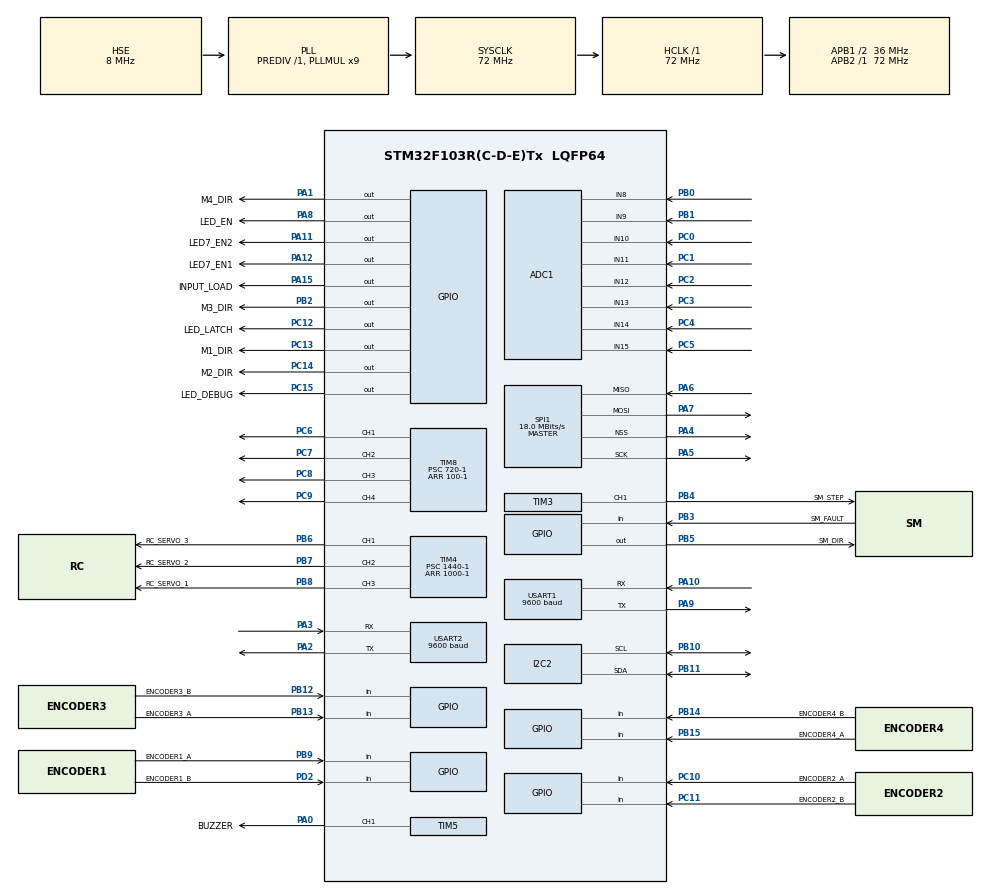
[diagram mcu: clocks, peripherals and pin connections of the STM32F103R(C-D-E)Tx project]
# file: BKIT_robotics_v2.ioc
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ADC1.Channel-0\#ChannelRegularConversion=ADC_CHANNEL_8
ADC1.Channel-1\#ChannelRegularConversion=ADC_CHANNEL_9
ADC1.Channel-2\#ChannelRegularConversion=ADC_CHANNEL_10
ADC1.Channel-3\#ChannelRegularConversion=ADC_CHANNEL_11
ADC1.Channel-4\#ChannelRegularConversion=ADC_CHANNEL_12
ADC1.Channel-5\#ChannelRegularConversion=ADC_CHANNEL_13
ADC1.Channel-6\#ChannelRegularConversion=ADC_CHANNEL_14
ADC1.Channel-7\#ChannelRegularConversion=ADC_CHANNEL_15
ADC1.NbrOfConversion=8
ADC1.NbrOfConversionFlag=1
ADC1.Rank-0\#ChannelRegularConversion=1
ADC1.Rank-1\#ChannelRegularConversion=2
ADC1.Rank-2\#ChannelRegularConversion=3
ADC1.Rank-3\#ChannelRegularConversion=4
ADC1.Rank-4\#ChannelRegularConversion=5
ADC1.Rank-5\#ChannelRegularConversion=6
ADC1.Rank-6\#ChannelRegularConversion=7
ADC1.Rank-7\#ChannelRegularConversion=8
ADC1.SamplingTime-0\#ChannelRegularConversion=ADC_SAMPLETIME_28CYCLES_5
ADC1.SamplingTime-1\#ChannelRegularConversion=ADC_SAMPLETIME_28CYCLES_5
ADC1.SamplingTime-2\#ChannelRegularConversion=ADC_SAMPLETIME_28CYCLES_5
ADC1.SamplingTime-3\#ChannelRegularConversion=ADC_SAMPLETIME_28CYCLES_5
ADC1.SamplingTime-4\#ChannelRegularConversion=ADC_SAMPLETIME_28CYCLES_5
ADC1.SamplingTime-5\#ChannelRegularConversion=ADC_SAMPLETIME_28CYCLES_5
ADC1.SamplingTime-6\#ChannelRegularConversion=ADC_SAMPLETIME_28CYCLES_5
ADC1.SamplingTime-7\#ChannelRegularConversion=ADC_SAMPLETIME_28CYCLES_5
ADC1.master=1
Dma.ADC1.0.Direction=DMA_PERIPH_TO_MEMORY
Dma.ADC1.0.Instance=DMA1_Channel1
Dma.ADC1.0.MemDataAlignment=DMA_MDATAALIGN_HALFWORD
Dma.ADC1.0.MemInc=DMA_MINC_ENABLE
Dma.ADC1.0.Mode=DMA_NORMAL
Dma.ADC1.0.PeriphDataAlignment=DMA_PDATAALIGN_HALFWORD
Dma.ADC1.0.PeriphInc=DMA_PINC_DISABLE
Dma.ADC1.0.Priority=DMA_PRIORITY_LOW
Dma.Request0=ADC1
Mcu.Family=STM32F1
Mcu.Name=STM32F103R(C-D-E)Tx
Mcu.Package=LQFP64
NVIC.DMA1_Channel1_IRQn=true\:0\:0\:false\:false\:true\:false\:true\:true
NVIC.PriorityGroup=NVIC_PRIORITYGROUP_4
NVIC.TIM2_IRQn=true\:0\:0\:false\:false\:true\:true\:true\:true
NVIC.TIM3_IRQn=true\:0\:0\:false\:false\:true\:true\:true\:true
NVIC.TIM4_IRQn=true\:0\:0\:false\:false\:true\:true\:true\:true
NVIC.USART1_IRQn=true\:0\:0\:false\:false\:true\:true\:true\:true
NVIC.USART2_IRQn=true\:0\:0\:false\:false\:true\:true\:true\:true
PA0-WKUP.GPIO_Label=BUZZER
PA0-WKUP.Signal=S_TIM5_CH1
PA1.GPIO_Label=M4_DIR
PA1.Signal=GPIO_Output
PA10.Mode=Asynchronous
PA10.Signal=USART1_RX
PA11.GPIO_Label=LED7_EN2
PA11.Signal=GPIO_Output
PA12.GPIO_Label=LED7_EN1
PA12.Signal=GPIO_Output
PA13.Mode=Serial_Wire
PA13.Signal=SYS_JTMS-SWDIO
PA14.Mode=Serial_Wire
PA14.Signal=SYS_JTCK-SWCLK
PA15.GPIO_Label=INPUT_LOAD
PA15.Signal=GPIO_Output
PA2.Mode=Asynchronous
PA2.Signal=USART2_TX
PA3.Mode=Asynchronous
PA3.Signal=USART2_RX
PA4.Mode=NSS_Signal_Hard_Output
PA4.Signal=SPI1_NSS
PA5.Mode=Full_Duplex_Master
PA5.Signal=SPI1_SCK
PA6.Mode=Full_Duplex_Master
PA6.Signal=SPI1_MISO
PA7.Mode=Full_Duplex_Master
PA7.Signal=SPI1_MOSI
PA8.GPIO_Label=LED_EN
PA8.Signal=GPIO_Output
PA9.Mode=Asynchronous
PA9.Signal=USART1_TX
PB0.Signal=ADCx_IN8
PB1.Signal=ADCx_IN9
PB10.Mode=I2C
PB10.Signal=I2C2_SCL
PB11.Mode=I2C
PB11.Signal=I2C2_SDA
PB12.GPIO_Label=ENCODER3_B
PB12.Signal=GPIO_Input
PB13.GPIO_Label=ENCODER3_A
PB13.Signal=GPIO_Input
PB14.GPIO_Label=ENCODER4_B
PB14.Signal=GPIO_Input
PB15.GPIO_Label=ENCODER4_A
PB15.Signal=GPIO_Input
PB2.GPIO_Label=M3_DIR
PB2.Signal=GPIO_Output
PB3.GPIO_Label=SM_FAULT
PB3.Signal=GPIO_Input
PB4.GPIO_Label=SM_STEP
PB4.Signal=S_TIM3_CH1
PB5.GPIO_Label=SM_DIR
PB5.Signal=GPIO_Output
PB6.GPIO_Label=RC_SERVO_3
PB6.Signal=S_TIM4_CH1
PB7.GPIO_Label=RC_SERVO_2
PB7.Signal=S_TIM4_CH2
PB8.GPIO_Label=RC_SERVO_1
PB8.Signal=S_TIM4_CH3
PB9.GPIO_Label=ENCODER1_A
PB9.Signal=GPIO_Input
PC0.Signal=ADCx_IN10
PC1.Signal=ADCx_IN11
PC10.GPIO_Label=ENCODER2_A
PC10.Signal=GPIO_Input
PC11.GPIO_Label=ENCODER2_B
PC11.Signal=GPIO_Input
PC12.GPIO_Label=LED_LATCH
PC12.Signal=GPIO_Output
PC13-TAMPER-RTC.GPIO_Label=M1_DIR
PC13-TAMPER-RTC.Signal=GPIO_Output
PC14-OSC32_IN.GPIO_Label=M2_DIR
PC14-OSC32_IN.Signal=GPIO_Output
PC15-OSC32_OUT.GPIO_Label=LED_DEBUG
PC15-OSC32_OUT.Signal=GPIO_Output
PC2.Signal=ADCx_IN12
PC3.Signal=ADCx_IN13
PC4.Signal=ADCx_IN14
PC5.Signal=ADCx_IN15
PC6.Signal=S_TIM8_CH1
PC7.Signal=S_TIM8_CH2
PC8.Signal=S_TIM8_CH3
PC9.Signal=S_TIM8_CH4
PD0-OSC_IN.Mode=HSE-External-Oscillator
PD0-OSC_IN.Signal=RCC_OSC_IN
PD1-OSC_OUT.Mode=HSE-External-Oscillator
PD1-OSC_OUT.Signal=RCC_OSC_OUT
PD2.GPIO_Label=ENCODER1_B
PD2.Signal=GPIO_Input
ProjectManager.HeapSize=0x200
ProjectManager.StackSize=0x400
ProjectManager.TargetToolchain=STM32CubeIDE
RCC.ADCPresc=RCC_ADCPCLK2_DIV6
RCC.AHBFreq_Value=72000000
RCC.APB1CLKDivider=RCC_HCLK_DIV2
RCC.APB1Freq_Value=36000000
RCC.APB1TimFreq_Value=72000000
RCC.APB2Freq_Value=72000000
RCC.APB2TimFreq_Value=72000000
RCC.HCLKFreq_Value=72000000
RCC.PLLMUL=RCC_PLL_MUL9
RCC.PLLSourceVirtual=RCC_PLLSOURCE_HSE
RCC.SYSCLKFreq_VALUE=72000000
RCC.SYSCLKSource=RCC_SYSCLKSOURCE_PLLCLK
RCC.USBFreq_Value=72000000
SH.ADCx_IN10.0=ADC1_IN10,IN10
SH.ADCx_IN11.0=ADC1_IN11,IN11
SH.ADCx_IN12.0=ADC1_IN12,IN12
SH.ADCx_IN13.0=ADC1_IN13,IN13
SH.ADCx_IN14.0=ADC1_IN14,IN14
SH.ADCx_IN15.0=ADC1_IN15,IN15
SH.ADCx_IN8.0=ADC1_IN8,IN8
SH.ADCx_IN9.0=ADC1_IN9,IN9
SH.S_TIM3_CH1.0=TIM3_CH1,PWM Generation1 CH1
SH.S_TIM4_CH1.0=TIM4_CH1,PWM Generation1 CH1
SH.S_TIM4_CH2.0=TIM4_CH2,PWM Generation2 CH2
SH.S_TIM4_CH3.0=TIM4_CH3,PWM Generation3 CH3
SH.S_TIM5_CH1.0=TIM5_CH1,PWM Generation1 CH1
SH.S_TIM8_CH1.0=TIM8_CH1,PWM Generation1 CH1
SH.S_TIM8_CH2.0=TIM8_CH2,PWM Generation2 CH2
SH.S_TIM8_CH3.0=TIM8_CH3,PWM Generation3 CH3
SH.S_TIM8_CH4.0=TIM8_CH4,PWM Generation4 CH4
SPI1.BaudRatePrescaler=SPI_BAUDRATEPRESCALER_4
SPI1.CalculateBaudRate=18.0 MBits/s
SPI1.Direction=SPI_DIRECTION_2LINES
SPI1.Mode=SPI_MODE_MASTER
SPI1.VirtualNSS=VM_NSSHARD
SPI1.VirtualType=VM_MASTER
TIM2.Period=1000-1
TIM2.Prescaler=72-1
TIM3.Channel-PWM\ Generation1\ CH1=TIM_CHANNEL_1
TIM3.Period=100-1
TIM3.Prescaler=720-1
TIM4.Channel-PWM\ Generation1\ CH1=TIM_CHANNEL_1
TIM4.Channel-PWM\ Generation2\ CH2=TIM_CHANNEL_2
TIM4.Channel-PWM\ Generation3\ CH3=TIM_CHANNEL_3
TIM4.Period=1000-1
TIM4.Prescaler=1440-1
TIM5.Channel-PWM\ Generation1\ CH1=TIM_CHANNEL_1
TIM5.Period=100-1
TIM5.Prescaler=720-1
TIM8.Channel-PWM\ Generation1\ CH1=TIM_CHANNEL_1
TIM8.Channel-PWM\ Generation2\ CH2=TIM_CHANNEL_2
TIM8.Channel-PWM\ Generation3\ CH3=TIM_CHANNEL_3
TIM8.Channel-PWM\ Generation4\ CH4=TIM_CHANNEL_4
TIM8.Period=100-1
TIM8.Prescaler=720-1
USART1.BaudRate=9600
USART1.VirtualMode=VM_ASYNC
USART2.BaudRate=9600
USART2.VirtualMode=VM_ASYNC
VP_TIM2_VS_ClockSourceINT.Mode=Internal
VP_TIM3_VS_ClockSourceINT.Mode=Internal
VP_TIM4_VS_ClockSourceINT.Mode=Internal
VP_TIM5_VS_ClockSourceINT.Mode=Internal
board=custom

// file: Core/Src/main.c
/* USER CODE BEGIN Header */
/**
 ******************************************************************************
 * @file           : main.c
 * @brief          : Main program body
 ******************************************************************************
 * @attention
 *
 * Copyright (c) 2024 STMicroelectronics.
 * All rights reserved.
 *
 * This software is licensed under terms that can be found in the LICENSE file
 * in the root directory of this software component.
 * If no LICENSE file comes with this software, it is provided AS-IS.
 *
 ******************************************************************************
 */
/* USER CODE END Header */
#include "main.h"
#include "adc.h"
#include "dma.h"
#include "i2c.h"
#include "spi.h"
#include "tim.h"
#include "usart.h"
#include "gpio.h"

/* USER CODE BEGIN Includes */
#include <stdlib.h>
#include <stdint.h>

#include "global.h"
#include "software_timer.h"

#include "servo.h"
#include "motor.h"
#include "encoder.h"
#include "step_motor.h"
#include "line_sensor.h"
#include "gamepad.h"
#include "module_mke_m15.h"

#include "button.h"
#include "switch.h"

#include "display.h"
#include "buzzer.h"

#include "uart.h"
#include "utils.h"

#include "robot_firmware.h"

/* USER CODE END Includes */

void SystemClock_Config(void);
/* USER CODE BEGIN PFP */
void initSystem();

/* USER CODE END PFP */

int main(void)
{

  /* MCU Configuration--------------------------------------------------------*/

  /* Reset of all peripherals, Initializes the Flash interface and the Systick. */
  HAL_Init();

  /* Configure the system clock */
  SystemClock_Config();

  /* Initialize all configured peripherals */
  MX_GPIO_Init();
  MX_DMA_Init();
  MX_TIM4_Init();
  MX_TIM2_Init();
  MX_TIM3_Init();
  MX_TIM8_Init();
  MX_USART1_UART_Init();
  MX_USART2_UART_Init();
  MX_TIM5_Init();
  MX_SPI1_Init();
  MX_ADC1_Init();
  MX_I2C2_Init();
  /* USER CODE BEGIN 2 */

  displayLed7Seg((uint8_t)getModeId());
  (void)setupRobot();

  /* USER CODE END 2 */

  /* Infinite loop */
  /* USER CODE BEGIN WHILE */
  while (1)
  {
    (void)processRobot();

    // if (getFlagUart1())
    // {
    // }
    // if (getFlagUart2())
    // {
    // }
    // if (sTimer2GetFlag())
    // {
    // SensorScan();
    // displayLeds(getSensorState());
    // displayLed7Seg(SensorGetLineStatus());

    // if (readGamepadData() == STATUS_OK)
    // {
    //   if (isGamepadButtonPressed(BUTTON_UP))
    //   {
    //     displayLeds(getGamepadData()[1]);
    //     moveDirection(FORWARD, 50);
    //   }
    //   else if (isGamepadButtonPressed(BUTTON_DOWN))
    //   {
    //     displayLeds(getGamepadData()[1]);
    //     moveDirection(BACKWARD, 50);
    //   }
    //   else if (isGamepadButtonPressed(BUTTON_LEFT))
    //   {
    //     displayLeds(getGamepadData()[1]);
    //     moveDirection(LEFT, 50);
    //   }
    //   else if (isGamepadButtonPressed(BUTTON_RIGHT))
    //   {
    //     displayLeds(getGamepadData()[1]);
    //     moveDirection(RIGHT, 50);
    //   }

    //   else if (isGamepadButtonPressed(BUTTON_SQUARE))
    //   {
    //     displayLeds(getGamepadData()[27]);
    //     moveDirection(ROTATE_LEFT, 50);
    //   }
    //   else if (isGamepadButtonPressed(BUTTON_CIRCLE))
    //   {
    //     displayLeds(getGamepadData()[27]);
    //     moveDirection(ROTATE_RIGHT, 50);
    //   }
    //   else
    //   {
    //     scanButton();
    //     if (isButtonPressed(BUTTON_1))
    //     {
    //       moveForward(50);
    //     }
    //     else if (isButtonPressed(BUTTON_2))
    //     {
    //       moveBackward(50);
    //     }
    //     else if (isButtonPressed(BUTTON_3))
    //     {
    //       moveLeft(50);
    //     }
    //     else if (isButtonPressed(BUTTON_4))
    //     {
    //       moveRight(50);
    //     }
    //     else
    //     {
    //       motorStop();
    //     }
    //   }
    // }

    // HAL_GPIO_TogglePin(LED_DEBUG_GPIO_Port, LED_DEBUG_Pin);
    // scanButton();
    // displayLed7Seg(state);
    // if (state == 0)
    // {
    //   if (isButtonPressed(1))
    //   {
    //     state = 1;
    //   }
    // }
    // else if (state == 1)
    // {
    //   autoProcess();
    //   motorStop();
    //   state = 0;
    // }
    // else if (state == 2)
    // {
    //   followLineForward();
    //   if (isButtonPressed(1))
    //   {
    //     state = 2;
    //     motorStop();
    //   }
    // }
    // else if (state == 3)
    // {
    //   goLeftUntilMeetLine();
    //   if (isButtonPressed(1))
    //   {
    //     state = 0;
    //     motorStop();
    //   }
    // }
    // else if (state == 4)
    // {
    //   goRightUntilMeetLine();
    //   if (isButtonPressed(1))
    //   {
    //     state = 0;
    //     motorStop();
    //   }
    // }

    // if (isButtonPressed(0))
    // {
    //   stepMotorMove(UP, 5);
    //   HAL_Delay(5000);
    //   motorStop();
    // }

    // if (isButtonPressed(2))
    // {
    //   state = 3;
    // }

    // if (isButtonPressed(3))
    // {
    //   state = 4;
    // }
    //      followLine();
    // }

    /* USER CODE END WHILE */

  }
}

void SystemClock_Config(void)
{
  RCC_OscInitTypeDef RCC_OscInitStruct = {0};
  RCC_ClkInitTypeDef RCC_ClkInitStruct = {0};
  RCC_PeriphCLKInitTypeDef PeriphClkInit = {0};

  /** Initializes the RCC Oscillators according to the specified parameters
   * in the RCC_OscInitTypeDef structure.
   */
  RCC_OscInitStruct.OscillatorType = RCC_OSCILLATORTYPE_HSE;
  RCC_OscInitStruct.HSEState = RCC_HSE_ON;
  RCC_OscInitStruct.HSEPredivValue = RCC_HSE_PREDIV_DIV1;
  RCC_OscInitStruct.HSIState = RCC_HSI_ON;
  RCC_OscInitStruct.PLL.PLLState = RCC_PLL_ON;
  RCC_OscInitStruct.PLL.PLLSource = RCC_PLLSOURCE_HSE;
  RCC_OscInitStruct.PLL.PLLMUL = RCC_PLL_MUL9;
  if (HAL_RCC_OscConfig(&RCC_OscInitStruct) != HAL_OK)
  {
    Error_Handler();
  }

  /** Initializes the CPU, AHB and APB buses clocks
   */
  RCC_ClkInitStruct.ClockType = RCC_CLOCKTYPE_HCLK | RCC_CLOCKTYPE_SYSCLK | RCC_CLOCKTYPE_PCLK1 | RCC_CLOCKTYPE_PCLK2;
  RCC_ClkInitStruct.SYSCLKSource = RCC_SYSCLKSOURCE_PLLCLK;
  RCC_ClkInitStruct.AHBCLKDivider = RCC_SYSCLK_DIV1;
  RCC_ClkInitStruct.APB1CLKDivider = RCC_HCLK_DIV2;
  RCC_ClkInitStruct.APB2CLKDivider = RCC_HCLK_DIV1;

  if (HAL_RCC_ClockConfig(&RCC_ClkInitStruct, FLASH_LATENCY_2) != HAL_OK)
  {
    Error_Handler();
  }
  PeriphClkInit.PeriphClockSelection = RCC_PERIPHCLK_ADC;
  PeriphClkInit.AdcClockSelection = RCC_ADCPCLK2_DIV6;
  if (HAL_RCCEx_PeriphCLKConfig(&PeriphClkInit) != HAL_OK)
  {
    Error_Handler();
  }
}

/* USER CODE BEGIN 4 */
void autoProcess()
{
  servoSetAngle(3, 1);
  stepMotorMove(UP, 10);
  HAL_Delay(3000);
  goToTheNthCross(4);
  rotateRight(35);
  HAL_Delay(1100);
  motorStop();
  goLeftUntilMeetLine();
  goToTheNthCross(2);
  moveForward(35);
  HAL_Delay(350);
  motorStop();
  HAL_Delay(2000);
  stepMotorMove(DOWN, 10);
  HAL_Delay(3000);
  servoSetAngle(3, 40);
  HAL_Delay(2000);
  stepMotorMove(UP, 10);
  HAL_Delay(3000);
  rotateLeft(35);
  HAL_Delay(1100);
  motorStop();
  goLeftUntilMeetLine();
  goToTheNthCross(2);
  moveForward(40);
  HAL_Delay(350);
  motorStop();
  stepMotorMove(DOWN, 10);
  HAL_Delay(3000);
  servoSetAngle(3, 1);
  HAL_Delay(2000);
  stepMotorMove(UP, 10);
  HAL_Delay(3000);
  goBackwardUntilMeetLine();
  rotateLeft(35);
  HAL_Delay(1000);
  motorStop();
  moveForward(40);
  HAL_Delay(150);
  motorStop();
  goRightUntilMeetLine();
  goToTheNthCross(2);
  rotateRight(35);
  HAL_Delay(1000);
  motorStop();
  goLeftUntilMeetLine();
  goToTheNthCross(2);
}
/* USER CODE END 4 */

void Error_Handler(void)
{
  __disable_irq();
  while (1)
  {
  }
}
